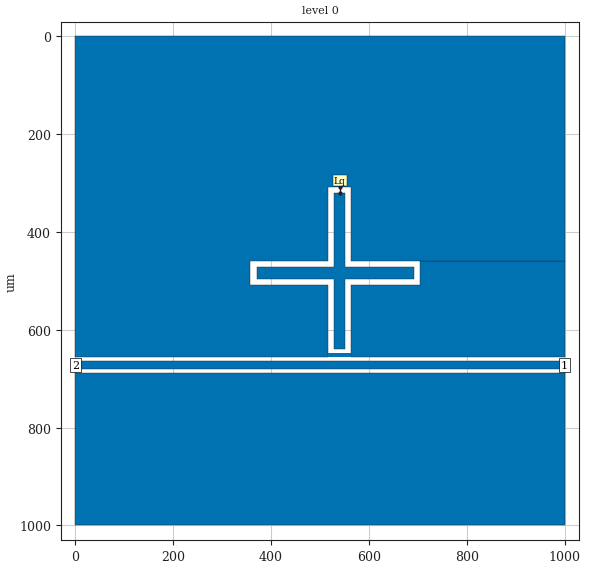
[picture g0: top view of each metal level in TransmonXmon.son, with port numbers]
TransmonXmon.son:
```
FTYP SONPROJ 15 ! Sonnet Project File
VER 16.52
HEADER
LIC calt2.2.43068 b6ae2bd1257f DESKTOP-SL82IK9 Michael
DAT 06/23/2016 09:56:47
BUILT_BY_CREATED xgeom 16.52 04/11/2016 14:48:12
BUILT_BY_SAVED xgeom 16.52
MDATE 06/23/2016 09:56:47
HDATE 06/23/2016 09:56:47
END HEADER
DIM
FREQ GHZ
IND NH
LNG UM
ANG DEG
CON /OH
CAP PF
RES OH
END DIM
FREQ
ABS 4.5 5.5 
END FREQ
CONTROL
ABS
OPTIONS  -dj 
SPEED 0
CACHE_ABS 1
TARG_ABS 300
Q_ACC Y
DET_ABS_RES Y
END CONTROL
GEO
TMET "Lossless" 0 SUP 0 0 0 0
BMET "Lossless" 0 SUP 0 0 0 0
BOX 2 1000 1000 500 500 20 0
      500 1 1 0 0 0 0 "Unnamed"
      500 11.9 1 5e-006 0 0 0 "Silicon (intrinsic)"
      500 1 1 0 0 0 0 "Unnamed"
LORGN 0 1000 U 
POR1 STD
POLY 16 1
1
1 50 0 0 0 1000 672.0000077 
POR1 STD
POLY 16 1
3
2 50 0 0 0 0 672.0000077 
SMD 0 "Lq"
ID 9
GNDREF F
TWTYPE CUST
TWVALUE 4
SBOX 537 543 310.9999967 316.9999968
PBSHW N
LPOS 540 310.9999967
TYPE IDEAL IND 9.4
SMDP 0 540 307.9999967 T 3 1 
SMDP 0 540 319.9999969 B 4 2 
END
NUM 6
0 13 -1 N 12 1 1 100 100 0 0 0 Y
552 496
691.9999709 496
691.9999709 472
552 472
552 319.9999969
528 319.9999969
528 472
372 472
372 496
528 496
528 639.9999909
552 639.9999909
552 496
END
0 10 -1 N 13 1 1 100 100 0 0 0 Y
1000 679.9999787
1000 664
1000 687.9999781
0 687.9999781
0 664
0 679.9999787
0 736
0 1000
1000 1000
1000 679.9999787
END
0 7 -1 N 14 1 1 100 100 0 0 0 Y
1000 460
704 460
704 508
564.0000504 508
564.0000504 656.0000136
1000 656.0000136
1000 460
END
0 15 -1 N 15 1 1 100 100 0 0 0 Y
516.0000126 508
356 508
356 460
516 460
516 307.9999967
564 307.9999967
564 460
1000 460
1000 236
1000 0
0 0
0 236
0 656.0000136
516.0000126 656.0000136
516.0000126 508
END
0 5 -1 N 16 1 1 100 100 0 0 0 Y
0 664
1000 664
1000 680.0000154
0 680.0000154
0 664
END
0 5 -1 N 25 1 1 100 100 0 0 0 Y
516.0000126 648
564.0000504 648
564.0000504 656.0000136
516.0000126 656.0000136
516.0000126 648
END
END GEO
OPT
MAX 100
VARS
END
END OPT
VARSWP
END VARSWP
QSG
IMPORT NO
EXTRA_METAL NO
UNITS NO
ALIGN NO
REF NO
VIEW_RES YES
METALS NO
USED YES
END QSG
```
